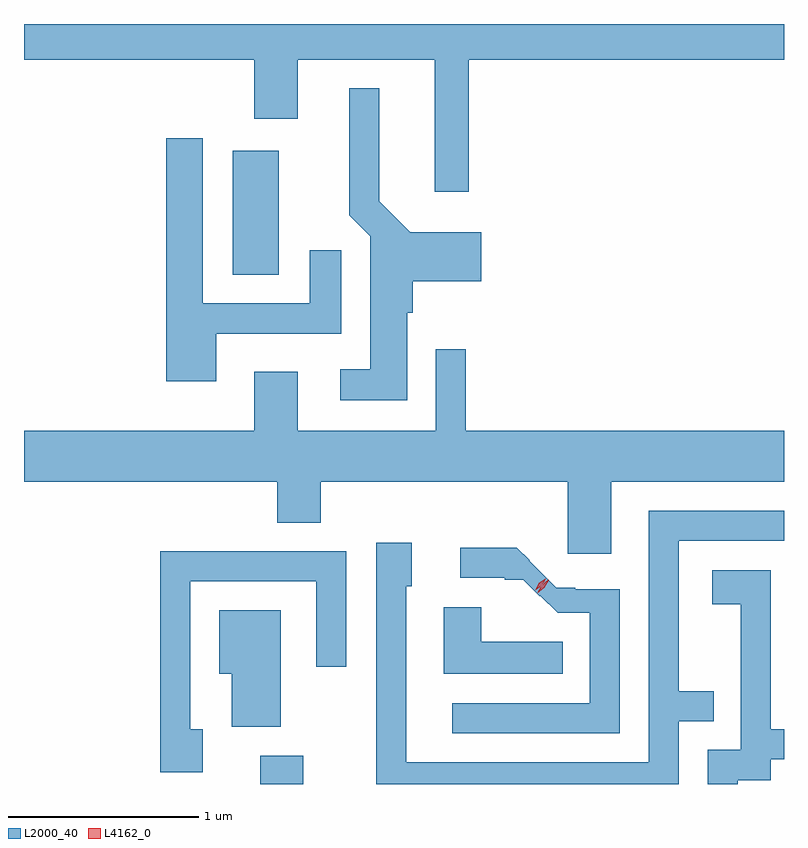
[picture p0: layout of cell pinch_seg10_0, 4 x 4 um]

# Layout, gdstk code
import gdstk
lib = gdstk.Library(unit=1e-6, precision=1e-09)
def R(c, l, rs):  # rectangles x0, y0, x1, y1
    for r in rs: c.add(gdstk.rectangle(r[:2], r[2:], *l))
def P(c, l, *ps):  # polygons
    for p in ps: c.add(gdstk.Polygon(p, *l))
L2000_40 = (2000, 40)
L4162_0 = (4162, 0)

pinch_seg10_0 = lib.new_cell('pinch_seg10_0')
R(pinch_seg10_0, L2000_40, [(1090.491,2203.345,1090.719,2203.494), (1090.346,2206.026,1090.589,2206.679)])
P(pinch_seg10_0, L2000_40, [(1091.589,2207.156),(1093.248,2207.156),(1093.248,2207.345),(1089.248,2207.345),(1089.248,2207.156),(1090.461,2207.156),(1090.461,2206.846),(1090.689,2206.846),(1090.689,2207.156),(1091.411,2207.156),(1091.411,2206.461),(1091.589,2206.461)],
  [(1091.264,2205.826),(1091.294,2205.826),(1091.294,2205.991),(1091.654,2205.991),(1091.654,2206.249),(1091.282,2206.249),(1091.119,2206.412),(1091.119,2207.008),(1090.961,2207.008),(1090.961,2206.339),(1091.071,2206.229),(1091.071,2205.529),(1090.913,2205.529),(1090.913,2205.366),(1091.264,2205.366)],
  [(1090.259,2205.716),(1090.919,2205.716),(1090.919,2206.153),(1090.751,2206.153),(1090.751,2205.874),(1090.189,2205.874),(1090.189,2206.744),(1089.996,2206.744),(1089.996,2205.466),(1090.259,2205.466)],
  [(1092.339,2204.936),(1093.248,2204.936),(1093.248,2205.204),(1091.574,2205.204),(1091.574,2205.633),(1091.416,2205.633),(1091.416,2205.204),(1090.689,2205.204),(1090.689,2205.514),(1090.461,2205.514),(1090.461,2205.204),(1089.248,2205.204),(1089.248,2204.936),(1090.581,2204.936),(1090.581,2204.721),(1090.809,2204.721),(1090.809,2204.936),(1092.111,2204.936),(1092.111,2204.556),(1092.339,2204.556)],
  [(1092.694,2203.676),(1092.878,2203.676),(1092.878,2203.834),(1092.694,2203.834),(1092.694,2204.626),(1093.248,2204.626),(1093.248,2204.784),(1092.536,2204.784),(1092.536,2203.459),(1091.259,2203.459),(1091.259,2204.386),(1091.289,2204.386),(1091.289,2204.614),(1091.101,2204.614),(1091.101,2203.345),(1092.694,2203.345)],
  [(1092.384,2204.37),(1092.149,2204.37),(1092.149,2204.379),(1092.049,2204.379),(1091.907,2204.52),(1091.909,2204.522),(1091.842,2204.589),(1091.543,2204.589),(1091.543,2204.431),(1091.779,2204.431),(1091.779,2204.42),(1091.875,2204.42),(1091.962,2204.333),(1091.966,2204.337),(1092.056,2204.246),(1092.226,2204.246),(1092.226,2203.769),(1091.503,2203.769),(1091.503,2203.611),(1092.384,2203.611)],
  [(1090.189,2203.634),(1090.124,2203.634),(1090.124,2204.411),(1090.786,2204.411),(1090.786,2203.963),(1090.944,2203.963),(1090.944,2204.569),(1089.966,2204.569),(1089.966,2203.406),(1090.189,2203.406)],
  [(1093.004,2203.366),(1093.179,2203.366),(1093.179,2203.476),(1093.248,2203.476),(1093.248,2203.634),(1093.179,2203.634),(1093.179,2204.469),(1092.871,2204.469),(1092.871,2204.291),(1093.021,2204.291),(1093.021,2203.524),(1092.846,2203.524),(1092.846,2203.345),(1093.004,2203.345)],
  [(1092.083,2204.094),(1091.654,2204.094),(1091.654,2204.274),(1091.456,2204.274),(1091.456,2203.926),(1092.083,2203.926)],
  [(1090.599,2204.259),(1090.276,2204.259),(1090.276,2203.926),(1090.341,2203.926),(1090.341,2203.646),(1090.599,2203.646)])
P(pinch_seg10_0, L4162_0, [(1091.949,2204.35),(1091.949,2204.35),(1091.972,2204.391),(1092.008,2204.419),(1092.009,2204.419),(1092.009,2204.418),(1091.986,2204.378),(1091.949,2204.35)],
  [(1091.939,2204.365),(1091.939,2204.366),(1091.958,2204.402),(1091.992,2204.426),(1091.993,2204.426),(1091.993,2204.425),(1091.974,2204.389),(1091.94,2204.365)])

lib.write_gds('pinch_seg10_0.gds')
